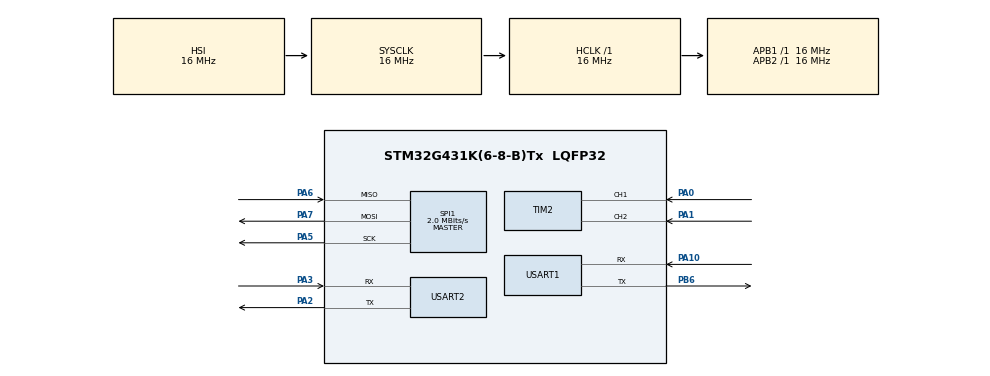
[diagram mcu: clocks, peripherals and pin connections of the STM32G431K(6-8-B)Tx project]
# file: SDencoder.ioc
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FATFS._MAX_SS=4096
FATFS._USE_LFN=1
Mcu.Family=STM32G4
Mcu.Name=STM32G431K(6-8-B)Tx
Mcu.Package=LQFP32
NVIC.PriorityGroup=NVIC_PRIORITYGROUP_4
NVIC.TIM1_UP_TIM16_IRQn=true\:0\:0\:false\:false\:true\:true\:true\:true
PA0.Signal=S_TIM2_CH1
PA1.Signal=S_TIM2_CH2
PA10.Mode=Asynchronous
PA10.Signal=USART1_RX
PA2.Mode=Asynchronous
PA2.Signal=USART2_TX
PA3.Mode=Asynchronous
PA3.Signal=USART2_RX
PA5.Mode=Full_Duplex_Master
PA5.Signal=SPI1_SCK
PA6.Mode=Full_Duplex_Master
PA6.Signal=SPI1_MISO
PA7.Mode=Full_Duplex_Master
PA7.Signal=SPI1_MOSI
PB6.Mode=Asynchronous
PB6.Signal=USART1_TX
ProjectManager.HeapSize=0x200
ProjectManager.StackSize=0x400
ProjectManager.TargetToolchain=STM32CubeIDE
RCC.AHBFreq_Value=16000000
RCC.APB1Freq_Value=16000000
RCC.APB1TimFreq_Value=16000000
RCC.APB2Freq_Value=16000000
RCC.APB2TimFreq_Value=16000000
RCC.CortexFreq_Value=16000000
RCC.EXTERNAL_CLOCK_VALUE=12288000
RCC.HCLKFreq_Value=16000000
RCC.HSE_VALUE=8000000
RCC.HSI48_VALUE=48000000
RCC.HSI_VALUE=16000000
RCC.LSE_VALUE=32768
RCC.SYSCLKFreq_VALUE=16000000
RCC.USBFreq_Value=64000000
RCC.VCOOutputFreq_Value=128000000
SH.S_TIM2_CH1.0=TIM2_CH1,Encoder_Interface
SH.S_TIM2_CH2.0=TIM2_CH2,Encoder_Interface
SPI1.BaudRatePrescaler=SPI_BAUDRATEPRESCALER_8
SPI1.CalculateBaudRate=2.0 MBits/s
SPI1.DataSize=SPI_DATASIZE_8BIT
SPI1.Direction=SPI_DIRECTION_2LINES
SPI1.Mode=SPI_MODE_MASTER
SPI1.VirtualType=VM_MASTER
TIM16.PeriodNoDither=99
TIM16.Prescaler=7999
TIM2.EncoderMode=TIM_ENCODERMODE_TI12
USART1.VirtualMode-Asynchronous=VM_ASYNC
USART2.VirtualMode-Asynchronous=VM_ASYNC
VP_FATFS_VS_Generic.Mode=User_defined
VP_SYS_VS_DBSignals.Mode=DisableDeadBatterySignals
VP_TIM16_VS_ClockSourceINT.Mode=Enable_Timer
board=custom

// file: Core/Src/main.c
/* USER CODE BEGIN Header */
/**
  ******************************************************************************
  * @file           : main.c
  * @brief          : Main program body
  ******************************************************************************
  * @attention
  *
  * Copyright (c) 2025 STMicroelectronics.
  * All rights reserved.
  *
  * This software is licensed under terms that can be found in the LICENSE file
  * in the root directory of this software component.
  * If no LICENSE file comes with this software, it is provided AS-IS.
  *
  ******************************************************************************
  */
/* USER CODE END Header */
#include "main.h"
#include "app_fatfs.h"

/* USER CODE BEGIN Includes */
#include <stdio.h>

/* USER CODE END Includes */

SPI_HandleTypeDef hspi1;

TIM_HandleTypeDef htim2;
TIM_HandleTypeDef htim16;

UART_HandleTypeDef huart1;
UART_HandleTypeDef huart2;

/* USER CODE BEGIN PV */
int cnt= 0;
int count = 0;

/* USER CODE END PV */

void SystemClock_Config(void);
static void MX_GPIO_Init(void);
static void MX_USART1_UART_Init(void);
static void MX_USART2_UART_Init(void);
static void MX_SPI1_Init(void);
static void MX_TIM2_Init(void);
static void MX_TIM16_Init(void);

/* USER CODE BEGIN 0 */

int16_t read_encoder_value(void)
{
  int32_t count_t = 0;
  uint32_t enc_buff = TIM2->CNT;
  TIM2->CNT = 0;
  if (enc_buff > 0x8fffffffffffffff)
  {
    count_t = (int32_t)enc_buff*-1;
    //printf("-\r\n");
  }
  else
  {
    count_t = (int32_t)enc_buff;
  }
  return (int16_t)count_t;
}

void HAL_TIM_PeriodElapsedCallback(TIM_HandleTypeDef *htim){
	if(htim == &htim16){
		count = read_encoder_value();
		//printf("count:%d\r\n",count);
		cnt += count;
	}
}

int _write(int file, char *ptr, int len)
{
  HAL_UART_Transmit(&huart2,(uint8_t *)ptr,len,10);
  return len;
}

/* USER CODE END 0 */

int main(void)
{

  /* USER CODE BEGIN 1 */
	setbuf(stdout, NULL);

  /* USER CODE END 1 */

  /* MCU Configuration--------------------------------------------------------*/

  /* Reset of all peripherals, Initializes the Flash interface and the Systick. */
  HAL_Init();

  /* Configure the system clock */
  SystemClock_Config();

  /* Initialize all configured peripherals */
  MX_GPIO_Init();
  MX_USART1_UART_Init();
  MX_USART2_UART_Init();
  MX_SPI1_Init();
  MX_TIM2_Init();
  if (MX_FATFS_Init() != APP_OK) {
    Error_Handler();
  }
  MX_TIM16_Init();
  /* USER CODE BEGIN 2 */
  HAL_TIM_Encoder_Start( &htim2, TIM_CHANNEL_ALL );
  HAL_TIM_Base_Start_IT(&htim16);

  /* USER CODE END 2 */

  /* Infinite loop */
  while (1)
  {

    /* USER CODE BEGIN 3 */
	  //cnt = __HAL_TIM_GET_COUNTER(&htim2);
	  printf("%d\r\n",cnt);
	  //printf("count:%d\r\n",count);
	  HAL_Delay(100);
  }
  /* USER CODE END 3 */
}

void SystemClock_Config(void)
{
  RCC_OscInitTypeDef RCC_OscInitStruct = {0};
  RCC_ClkInitTypeDef RCC_ClkInitStruct = {0};

  /** Configure the main internal regulator output voltage
  */
  HAL_PWREx_ControlVoltageScaling(PWR_REGULATOR_VOLTAGE_SCALE1);

  /** Initializes the RCC Oscillators according to the specified parameters
  * in the RCC_OscInitTypeDef structure.
  */
  RCC_OscInitStruct.OscillatorType = RCC_OSCILLATORTYPE_HSI;
  RCC_OscInitStruct.HSIState = RCC_HSI_ON;
  RCC_OscInitStruct.HSICalibrationValue = RCC_HSICALIBRATION_DEFAULT;
  RCC_OscInitStruct.PLL.PLLState = RCC_PLL_NONE;
  if (HAL_RCC_OscConfig(&RCC_OscInitStruct) != HAL_OK)
  {
    Error_Handler();
  }

  /** Initializes the CPU, AHB and APB buses clocks
  */
  RCC_ClkInitStruct.ClockType = RCC_CLOCKTYPE_HCLK|RCC_CLOCKTYPE_SYSCLK
                              |RCC_CLOCKTYPE_PCLK1|RCC_CLOCKTYPE_PCLK2;
  RCC_ClkInitStruct.SYSCLKSource = RCC_SYSCLKSOURCE_HSI;
  RCC_ClkInitStruct.AHBCLKDivider = RCC_SYSCLK_DIV1;
  RCC_ClkInitStruct.APB1CLKDivider = RCC_HCLK_DIV1;
  RCC_ClkInitStruct.APB2CLKDivider = RCC_HCLK_DIV1;

  if (HAL_RCC_ClockConfig(&RCC_ClkInitStruct, FLASH_LATENCY_0) != HAL_OK)
  {
    Error_Handler();
  }
}

static void MX_SPI1_Init(void)
{

  /* SPI1 parameter configuration*/
  hspi1.Instance = SPI1;
  hspi1.Init.Mode = SPI_MODE_MASTER;
  hspi1.Init.Direction = SPI_DIRECTION_2LINES;
  hspi1.Init.DataSize = SPI_DATASIZE_8BIT;
  hspi1.Init.CLKPolarity = SPI_POLARITY_LOW;
  hspi1.Init.CLKPhase = SPI_PHASE_1EDGE;
  hspi1.Init.NSS = SPI_NSS_SOFT;
  hspi1.Init.BaudRatePrescaler = SPI_BAUDRATEPRESCALER_8;
  hspi1.Init.FirstBit = SPI_FIRSTBIT_MSB;
  hspi1.Init.TIMode = SPI_TIMODE_DISABLE;
  hspi1.Init.CRCCalculation = SPI_CRCCALCULATION_DISABLE;
  hspi1.Init.CRCPolynomial = 7;
  hspi1.Init.CRCLength = SPI_CRC_LENGTH_DATASIZE;
  hspi1.Init.NSSPMode = SPI_NSS_PULSE_ENABLE;
  if (HAL_SPI_Init(&hspi1) != HAL_OK)
  {
    Error_Handler();
  }

}

static void MX_TIM2_Init(void)
{

  TIM_Encoder_InitTypeDef sConfig = {0};
  TIM_MasterConfigTypeDef sMasterConfig = {0};

  htim2.Instance = TIM2;
  htim2.Init.Prescaler = 0;
  htim2.Init.CounterMode = TIM_COUNTERMODE_UP;
  htim2.Init.Period = 4294967295;
  htim2.Init.ClockDivision = TIM_CLOCKDIVISION_DIV1;
  htim2.Init.AutoReloadPreload = TIM_AUTORELOAD_PRELOAD_DISABLE;
  sConfig.EncoderMode = TIM_ENCODERMODE_TI12;
  sConfig.IC1Polarity = TIM_ICPOLARITY_RISING;
  sConfig.IC1Selection = TIM_ICSELECTION_DIRECTTI;
  sConfig.IC1Prescaler = TIM_ICPSC_DIV1;
  sConfig.IC1Filter = 0;
  sConfig.IC2Polarity = TIM_ICPOLARITY_RISING;
  sConfig.IC2Selection = TIM_ICSELECTION_DIRECTTI;
  sConfig.IC2Prescaler = TIM_ICPSC_DIV1;
  sConfig.IC2Filter = 0;
  if (HAL_TIM_Encoder_Init(&htim2, &sConfig) != HAL_OK)
  {
    Error_Handler();
  }
  sMasterConfig.MasterOutputTrigger = TIM_TRGO_RESET;
  sMasterConfig.MasterSlaveMode = TIM_MASTERSLAVEMODE_DISABLE;
  if (HAL_TIMEx_MasterConfigSynchronization(&htim2, &sMasterConfig) != HAL_OK)
  {
    Error_Handler();
  }

}

static void MX_TIM16_Init(void)
{

  htim16.Instance = TIM16;
  htim16.Init.Prescaler = 7999;
  htim16.Init.CounterMode = TIM_COUNTERMODE_UP;
  htim16.Init.Period = 99;
  htim16.Init.ClockDivision = TIM_CLOCKDIVISION_DIV1;
  htim16.Init.RepetitionCounter = 0;
  htim16.Init.AutoReloadPreload = TIM_AUTORELOAD_PRELOAD_DISABLE;
  if (HAL_TIM_Base_Init(&htim16) != HAL_OK)
  {
    Error_Handler();
  }

}

static void MX_USART1_UART_Init(void)
{

  huart1.Instance = USART1;
  huart1.Init.BaudRate = 115200;
  huart1.Init.WordLength = UART_WORDLENGTH_8B;
  huart1.Init.StopBits = UART_STOPBITS_1;
  huart1.Init.Parity = UART_PARITY_NONE;
  huart1.Init.Mode = UART_MODE_TX_RX;
  huart1.Init.HwFlowCtl = UART_HWCONTROL_NONE;
  huart1.Init.OverSampling = UART_OVERSAMPLING_16;
  huart1.Init.OneBitSampling = UART_ONE_BIT_SAMPLE_DISABLE;
  huart1.Init.ClockPrescaler = UART_PRESCALER_DIV1;
  huart1.AdvancedInit.AdvFeatureInit = UART_ADVFEATURE_NO_INIT;
  if (HAL_UART_Init(&huart1) != HAL_OK)
  {
    Error_Handler();
  }
  if (HAL_UARTEx_SetTxFifoThreshold(&huart1, UART_TXFIFO_THRESHOLD_1_8) != HAL_OK)
  {
    Error_Handler();
  }
  if (HAL_UARTEx_SetRxFifoThreshold(&huart1, UART_RXFIFO_THRESHOLD_1_8) != HAL_OK)
  {
    Error_Handler();
  }
  if (HAL_UARTEx_DisableFifoMode(&huart1) != HAL_OK)
  {
    Error_Handler();
  }

}

static void MX_USART2_UART_Init(void)
{

  huart2.Instance = USART2;
  huart2.Init.BaudRate = 115200;
  huart2.Init.WordLength = UART_WORDLENGTH_8B;
  huart2.Init.StopBits = UART_STOPBITS_1;
  huart2.Init.Parity = UART_PARITY_NONE;
  huart2.Init.Mode = UART_MODE_TX_RX;
  huart2.Init.HwFlowCtl = UART_HWCONTROL_NONE;
  huart2.Init.OverSampling = UART_OVERSAMPLING_16;
  huart2.Init.OneBitSampling = UART_ONE_BIT_SAMPLE_DISABLE;
  huart2.Init.ClockPrescaler = UART_PRESCALER_DIV1;
  huart2.AdvancedInit.AdvFeatureInit = UART_ADVFEATURE_NO_INIT;
  if (HAL_UART_Init(&huart2) != HAL_OK)
  {
    Error_Handler();
  }
  if (HAL_UARTEx_SetTxFifoThreshold(&huart2, UART_TXFIFO_THRESHOLD_1_8) != HAL_OK)
  {
    Error_Handler();
  }
  if (HAL_UARTEx_SetRxFifoThreshold(&huart2, UART_RXFIFO_THRESHOLD_1_8) != HAL_OK)
  {
    Error_Handler();
  }
  if (HAL_UARTEx_DisableFifoMode(&huart2) != HAL_OK)
  {
    Error_Handler();
  }

}

static void MX_GPIO_Init(void)
{

  /* GPIO Ports Clock Enable */
  __HAL_RCC_GPIOA_CLK_ENABLE();
  __HAL_RCC_GPIOB_CLK_ENABLE();

}

void Error_Handler(void)
{
  __disable_irq();
  while (1)
  {
  }
}
